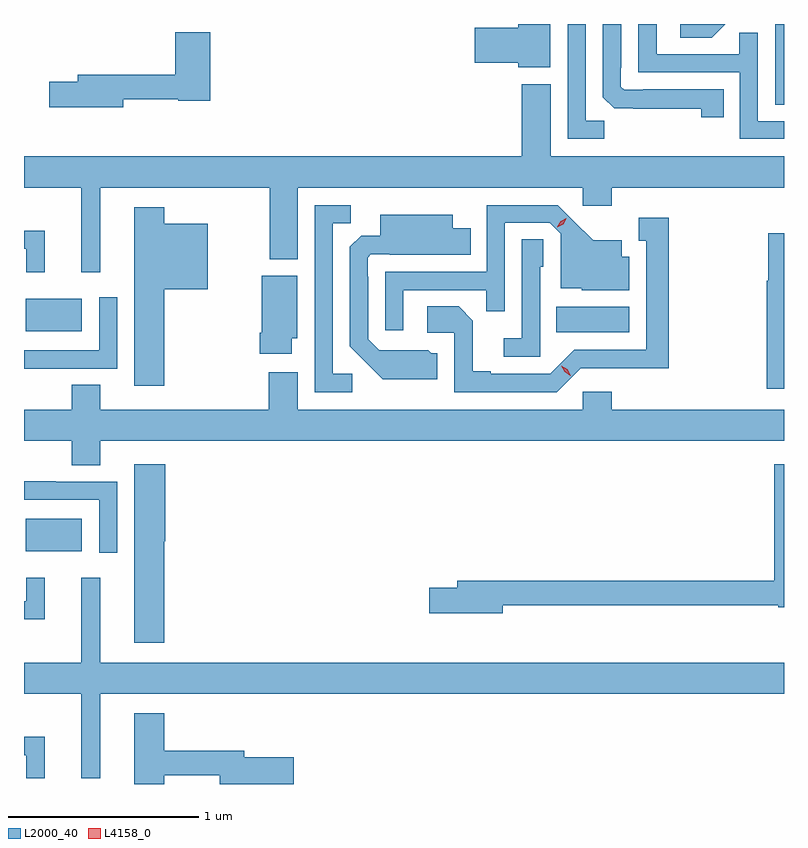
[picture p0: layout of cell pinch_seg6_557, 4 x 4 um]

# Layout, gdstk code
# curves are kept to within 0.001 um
import gdstk
lib = gdstk.Library(unit=1e-6, precision=1e-09)
def R(c, l, rs):  # rectangles x0, y0, x1, y1
    for r in rs: c.add(gdstk.rectangle(r[:2], r[2:], *l))
def P(c, l, *ps):  # polygons
    for p in ps: c.add(gdstk.Polygon(p, *l))
L2000_40 = (2000, 40)
L4158_0 = (4158, 0)

pinch_seg6_557 = lib.new_cell('pinch_seg6_557')
R(pinch_seg6_557, L2000_40, [(624.308,976.058,624.601,976.228), (627.1,977.21,627.484,977.344), (624.308,977.216,624.601,977.386), (628.251,978.409,628.298,978.833)])
P(pinch_seg6_557, L2000_40, [(627.351,978.323),(627.255,978.323),(627.255,978.833),(627.159,978.833),(627.159,978.228),(627.351,978.228)],
  [(628.298,978.321),(628.161,978.321),(628.161,978.788),(628.063,978.788),(628.063,978.675),(627.627,978.675),(627.627,978.833),(627.531,978.833),(627.531,978.579),(628.065,978.579),(628.065,978.228),(628.298,978.228)],
  [(627.99,978.833),(627.753,978.833),(627.753,978.76),(627.917,978.76)],
  [(627.98,978.489),(627.556,978.489),(627.556,978.486),(627.456,978.486),(627.438,978.504),(627.438,978.604),(627.441,978.604),(627.441,978.833),(627.345,978.833),(627.345,978.448),(627.404,978.389),(627.862,978.388),(627.862,978.342),(627.98,978.342)],
  [(627.067,978.833),(626.9,978.833),(626.9,978.812),(626.67,978.812),(626.67,978.629),(626.9,978.629),(626.9,978.605),(627.067,978.605)],
  [(624.82,978.438),(625.11,978.438),(625.11,978.43),(625.277,978.43),(625.277,978.79),(625.094,978.79),(625.094,978.566),(624.581,978.566),(624.581,978.53),(624.432,978.53),(624.432,978.395),(624.82,978.395)],
  [(624.698,977.972),(625.591,977.972),(625.591,977.594),(625.738,977.594),(625.738,977.972),(627.24,977.972),(627.24,977.877),(627.392,977.877),(627.392,977.972),(628.298,977.972),(628.298,978.136),(627.07,978.136),(627.07,978.517),(626.918,978.517),(626.918,978.136),(624.298,978.136),(624.298,977.972),(624.599,977.972),(624.599,977.526),(624.698,977.526)],
  [(626.026,976.992),(625.923,976.992),(625.923,977.785),(626.019,977.785),(626.019,977.88),(625.827,977.88),(625.827,976.896),(626.026,976.896)],
  [(626.295,977.433),(626.731,977.433),(626.731,977.32),(626.829,977.32),(626.829,977.787),(627.066,977.787),(627.123,977.73),(627.123,977.441),(627.234,977.441),(627.234,977.432),(627.484,977.432),(627.484,977.608),(627.445,977.608),(627.445,977.695),(627.293,977.695),(627.106,977.88),(626.733,977.88),(626.733,977.529),(626.199,977.529),(626.199,977.22),(626.295,977.22)],
  [(625.037,977.438),(625.264,977.438),(625.264,977.782),(625.037,977.782),(625.037,977.869),(624.878,977.869),(624.878,976.929),(625.037,976.929)],
  [(626.473,977.1),(626.442,977.1),(626.426,977.116),(626.169,977.115),(626.109,977.175),(626.109,977.504),(626.106,977.504),(626.106,977.604),(626.124,977.622),(626.224,977.622),(626.224,977.618),(626.648,977.618),(626.648,977.758),(626.554,977.758),(626.554,977.83),(626.174,977.83),(626.174,977.719),(626.072,977.719),(626.013,977.66),(626.013,977.138),(626.185,976.964),(626.473,976.964)],
  [(627.228,977.022),(627.691,977.021),(627.691,977.812),(627.533,977.812),(627.533,977.691),(627.572,977.691),(627.572,977.118),(627.195,977.118),(627.069,976.992),(626.755,976.992),(626.755,977.005),(626.661,977.005),(626.661,977.272),(626.585,977.348),(626.421,977.348),(626.421,977.208),(626.562,977.208),(626.562,976.896),(627.102,976.896)],
  [(624.407,977.745),(624.298,977.745),(624.298,977.649),(624.309,977.649),(624.309,977.526),(624.407,977.526)],
  [(628.298,977.731),(628.214,977.731),(628.214,977.482),(628.207,977.482),(628.207,976.914),(628.298,976.914)],
  [(627.015,977.556),(627.03,977.556),(627.03,977.699),(626.919,977.699),(626.919,977.179),(626.823,977.179),(626.823,977.082),(627.015,977.082)],
  [(625.708,977.178),(625.735,977.178),(625.735,977.509),(625.55,977.509),(625.55,977.209),(625.538,977.209),(625.538,977.097),(625.708,977.097)],
  [(624.464,977.019),(624.789,977.019),(624.789,977.395),(624.693,977.395),(624.693,977.115),(624.298,977.115),(624.298,977.018),(624.464,977.018)],
  [(624.7,976.64),(628.298,976.64),(628.298,976.804),(627.392,976.804),(627.392,976.897),(627.24,976.897),(627.24,976.804),(625.738,976.804),(625.738,976.999),(625.586,976.999),(625.586,976.804),(624.7,976.804),(624.7,976.934),(624.548,976.934),(624.548,976.804),(624.298,976.804),(624.298,976.64),(624.548,976.64),(624.548,976.51),(624.7,976.51)],
  [(625.037,976.11),(625.042,976.11),(625.042,976.516),(624.878,976.516),(624.878,975.576),(625.037,975.576)],
  [(626.818,975.774),(628.269,975.774),(628.269,975.762),(628.298,975.762),(628.298,976.516),(628.246,976.516),(628.246,975.902),(626.579,975.902),(626.579,975.866),(626.43,975.866),(626.43,975.731),(626.818,975.731)],
  [(624.789,976.425),(624.464,976.425),(624.464,976.427),(624.298,976.427),(624.298,976.329),(624.693,976.329),(624.693,976.05),(624.789,976.05)],
  [(624.698,975.308),(628.298,975.308),(628.298,975.472),(624.698,975.472),(624.698,975.919),(624.599,975.919),(624.599,975.472),(624.298,975.472),(624.298,975.308),(624.599,975.308),(624.599,974.862),(624.698,974.862)],
  [(624.407,975.919),(624.309,975.919),(624.309,975.795),(624.298,975.795),(624.298,975.699),(624.407,975.699)],
  [(625.037,974.878),(625.328,974.878),(625.328,974.833),(625.717,974.833),(625.717,974.973),(625.456,974.973),(625.456,975.007),(625.037,975.007),(625.037,975.205),(624.878,975.205),(624.878,974.833),(625.037,974.833)],
  [(624.407,975.081),(624.298,975.081),(624.298,974.985),(624.309,974.985),(624.309,974.862),(624.407,974.862)])
P(pinch_seg6_557, L4158_0, [(627.174,976.983),(627.143,977.002),(627.126,977.035),(627.126,977.035),(627.126,977.035),(627.157,977.016),(627.175,976.983),(627.175,976.983)],
  [(627.104,977.764),(627.104,977.765),(627.122,977.794),(627.153,977.81),(627.153,977.81),(627.153,977.809),(627.136,977.78),(627.105,977.764)])

lib.write_gds('pinch_seg6_557.gds')
